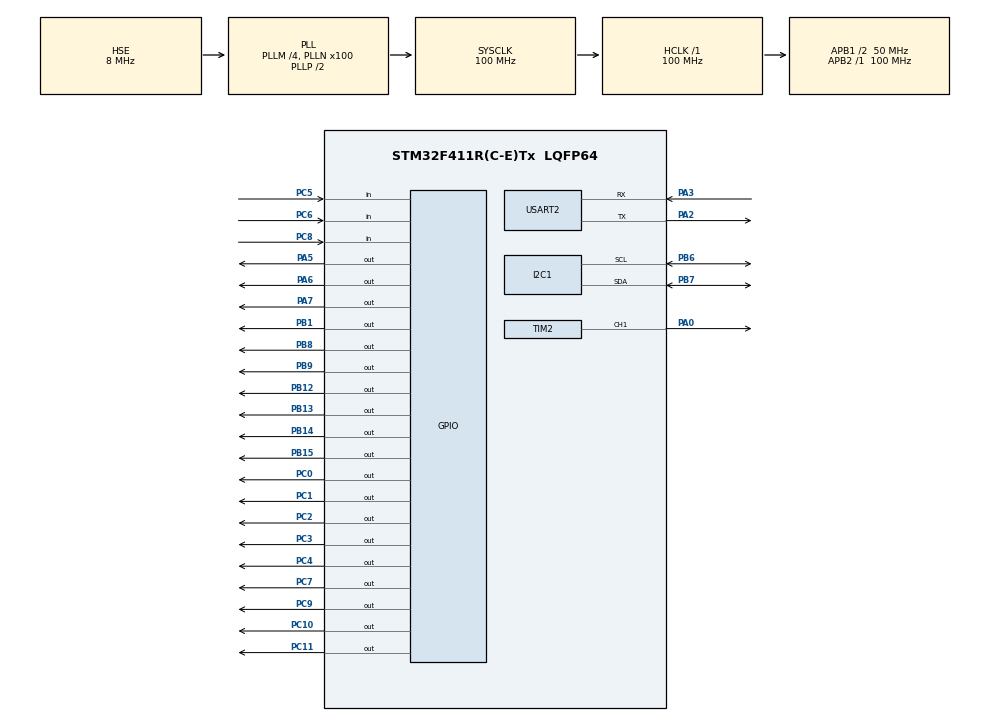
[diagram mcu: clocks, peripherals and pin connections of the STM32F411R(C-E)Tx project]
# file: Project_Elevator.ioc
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Mcu.Family=STM32F4
Mcu.Name=STM32F411R(C-E)Tx
Mcu.Package=LQFP64
NVIC.PriorityGroup=NVIC_PRIORITYGROUP_4
NVIC.USART2_IRQn=true\:0\:0\:false\:false\:true\:true\:true\:true
PA0-WKUP.Signal=S_TIM2_CH1_ETR
PA13.Mode=Serial_Wire
PA13.Signal=SYS_JTMS-SWDIO
PA14.Mode=Serial_Wire
PA14.Signal=SYS_JTCK-SWCLK
PA2.Mode=Asynchronous
PA2.Signal=USART2_TX
PA3.Mode=Asynchronous
PA3.Signal=USART2_RX
PA5.Signal=GPIO_Output
PA6.Signal=GPIO_Output
PA7.Signal=GPIO_Output
PB1.GPIO_Speed=GPIO_SPEED_FREQ_HIGH
PB1.Signal=GPIO_Output
PB12.Signal=GPIO_Output
PB13.GPIO_Speed=GPIO_SPEED_FREQ_HIGH
PB13.Signal=GPIO_Output
PB14.GPIO_Speed=GPIO_SPEED_FREQ_HIGH
PB14.Signal=GPIO_Output
PB15.GPIO_Speed=GPIO_SPEED_FREQ_HIGH
PB15.Signal=GPIO_Output
PB6.Mode=I2C
PB6.Signal=I2C1_SCL
PB7.Mode=I2C
PB7.Signal=I2C1_SDA
PB8.Signal=GPIO_Output
PB9.Signal=GPIO_Output
PC0.Signal=GPIO_Output
PC1.Signal=GPIO_Output
PC10.Signal=GPIO_Output
PC11.Signal=GPIO_Output
PC2.Signal=GPIO_Output
PC3.Signal=GPIO_Output
PC4.Signal=GPIO_Output
PC5.Signal=GPIO_Input
PC6.Signal=GPIO_Input
PC7.Signal=GPIO_Output
PC8.Signal=GPIO_Input
PC9.Signal=GPIO_Output
PH0\ -\ OSC_IN.Mode=HSE-External-Oscillator
PH0\ -\ OSC_IN.Signal=RCC_OSC_IN
PH1\ -\ OSC_OUT.Mode=HSE-External-Oscillator
PH1\ -\ OSC_OUT.Signal=RCC_OSC_OUT
ProjectManager.HeapSize=0x200
ProjectManager.StackSize=0x400
ProjectManager.TargetToolchain=STM32CubeIDE
RCC.48MHZClocksFreq_Value=50000000
RCC.AHBFreq_Value=100000000
RCC.APB1CLKDivider=RCC_HCLK_DIV2
RCC.APB1Freq_Value=50000000
RCC.APB1TimFreq_Value=100000000
RCC.APB2Freq_Value=100000000
RCC.APB2TimFreq_Value=100000000
RCC.CortexFreq_Value=100000000
RCC.HCLKFreq_Value=100000000
RCC.HSE_VALUE=8000000
RCC.HSI_VALUE=16000000
RCC.LSE_VALUE=32768
RCC.PLLM=4
RCC.PLLN=100
RCC.PLLSourceVirtual=RCC_PLLSOURCE_HSE
RCC.SYSCLKFreq_VALUE=100000000
RCC.SYSCLKSource=RCC_SYSCLKSOURCE_PLLCLK
RCC.VCOOutputFreq_Value=200000000
SH.S_TIM2_CH1_ETR.0=TIM2_CH1,PWM Generation1 CH1
TIM11.Prescaler=100-1
TIM2.Channel-PWM\ Generation1\ CH1=TIM_CHANNEL_1
TIM2.Period=1000-1
TIM2.Prescaler=2000-1
USART2.VirtualMode=VM_ASYNC
VP_TIM11_VS_ClockSourceINT.Mode=Enable_Timer
VP_TIM2_VS_ClockSourceINT.Mode=Internal
board=custom

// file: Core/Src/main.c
/* USER CODE BEGIN Header */
/**
 ******************************************************************************
 * @file           : main.c
 * @brief          : Main program body
 ******************************************************************************
 * @attention
 *
 * Copyright (c) 2025 STMicroelectronics.
 * All rights reserved.
 *
 * This software is licensed under terms that can be found in the LICENSE file
 * in the root directory of this software component.
 * If no LICENSE file comes with this software, it is provided AS-IS.
 *
 ******************************************************************************
 */
/* USER CODE END Header */
#include "main.h"
#include "i2c.h"
#include "tim.h"
#include "usart.h"
#include "gpio.h"

/* USER CODE BEGIN Includes */
#include "def.h"
#include "elevator.h"
/* USER CODE END Includes */

/* USER CODE BEGIN PD */
//#define DEBOUNCE_BUTTON 300
/* USER CODE END PD */

/* USER CODE BEGIN PV */
//uint8_t floorData1;
//uint8_t floorData2;
//uint8_t floorData3;

uint8_t photo1;
//uint8_t photo2;
//uint8_t photo3;

uint8_t currentFloor = 0;
/* USER CODE END PV */

void SystemClock_Config(void);
/* USER CODE BEGIN PFP */

void elevatorControl(uint8_t floor)
{
  lcdCommand(0x01);
  HAL_Delay(2);

  floorState(floor);
  HAL_Delay(1000);

  moveState(currentFloor, floor);

  moveElevator(currentFloor, floor);  // Stepper motor 등 동작
  currentFloor = floor;

  floorState(currentFloor);

  doorControl();

  moveCursor(1, 0);
  lcdString("TARGET FLOOR?  ");
}

/* USER CODE END PFP */

int main(void)
{

  /* MCU Configuration--------------------------------------------------------*/

  /* Reset of all peripherals, Initializes the Flash interface and the Systick. */
  HAL_Init();

  /* Configure the system clock */
  SystemClock_Config();

  /* Initialize all configured peripherals */
  MX_GPIO_Init();
  MX_TIM2_Init();
  MX_USART2_UART_Init();
  MX_TIM11_Init();
  MX_I2C1_Init();
  /* USER CODE BEGIN 2 */
  HAL_TIM_Base_Start(&htim11);    // TIM11 타이머를 시작함 (카운터 작동 시작), delay_us() 함수에서 사용하는 타이머이므로, 사용 전에 반드시 시작시켜야 함
  i2cLcd_init();

  moveCursor(0, 0);
  lcdString("TARGET FLOOR?  ");
  moveCursor(1, 0);
  lcdString("                ");
  /* USER CODE END 2 */

  /* Infinite loop */
  /* USER CODE BEGIN WHILE */
  while (1)
  {
    HAL_TIM_PWM_Start(&htim2, TIM_CHANNEL_1);

    photo1 = HAL_GPIO_ReadPin(GPIOC, GPIO_PIN_12);      // photo 관련 부분

    if(buttonGetPressed(0))
      elevatorControl(1);

    if(buttonGetPressed(1))
      elevatorControl(2);

    if(buttonGetPressed(2))
      elevatorControl(3);
  }

  /* USER CODE END WHILE */

}

void SystemClock_Config(void)
{
  RCC_OscInitTypeDef RCC_OscInitStruct = {0};
  RCC_ClkInitTypeDef RCC_ClkInitStruct = {0};

  /** Configure the main internal regulator output voltage
   */
  __HAL_RCC_PWR_CLK_ENABLE();
  __HAL_PWR_VOLTAGESCALING_CONFIG(PWR_REGULATOR_VOLTAGE_SCALE1);

  /** Initializes the RCC Oscillators according to the specified parameters
   * in the RCC_OscInitTypeDef structure.
   */
  RCC_OscInitStruct.OscillatorType = RCC_OSCILLATORTYPE_HSE;
  RCC_OscInitStruct.HSEState = RCC_HSE_ON;
  RCC_OscInitStruct.PLL.PLLState = RCC_PLL_ON;
  RCC_OscInitStruct.PLL.PLLSource = RCC_PLLSOURCE_HSE;
  RCC_OscInitStruct.PLL.PLLM = 4;
  RCC_OscInitStruct.PLL.PLLN = 100;
  RCC_OscInitStruct.PLL.PLLP = RCC_PLLP_DIV2;
  RCC_OscInitStruct.PLL.PLLQ = 4;
  if (HAL_RCC_OscConfig(&RCC_OscInitStruct) != HAL_OK)
  {
    Error_Handler();
  }

  /** Initializes the CPU, AHB and APB buses clocks
   */
  RCC_ClkInitStruct.ClockType = RCC_CLOCKTYPE_HCLK|RCC_CLOCKTYPE_SYSCLK
      |RCC_CLOCKTYPE_PCLK1|RCC_CLOCKTYPE_PCLK2;
  RCC_ClkInitStruct.SYSCLKSource = RCC_SYSCLKSOURCE_PLLCLK;
  RCC_ClkInitStruct.AHBCLKDivider = RCC_SYSCLK_DIV1;
  RCC_ClkInitStruct.APB1CLKDivider = RCC_HCLK_DIV2;
  RCC_ClkInitStruct.APB2CLKDivider = RCC_HCLK_DIV1;

  if (HAL_RCC_ClockConfig(&RCC_ClkInitStruct, FLASH_LATENCY_3) != HAL_OK)
  {
    Error_Handler();
  }
}

void Error_Handler(void)
{
  __disable_irq();
  while (1)
  {
  }
}
